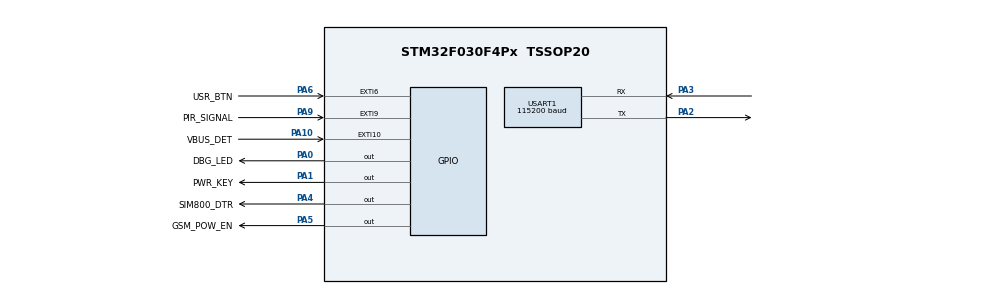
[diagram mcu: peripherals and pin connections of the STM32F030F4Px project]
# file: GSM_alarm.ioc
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Mcu.Family=STM32F0
Mcu.Name=STM32F030F4Px
Mcu.Package=TSSOP20
NVIC.EXTI4_15_IRQn=true\:0\:0\:false\:true\:true\:1\:true
NVIC.USART1_IRQn=true\:0\:0\:false\:true\:true\:2\:true
PA0.GPIO_Label=DBG_LED
PA0.Signal=GPIO_Output
PA1.GPIO_Label=PWR_KEY
PA1.Signal=GPIO_Output
PA10.GPIO_Label=VBUS_DET
PA10.GPIO_ModeDefaultEXTI=GPIO_MODE_IT_RISING_FALLING
PA10.GPIO_PuPd=GPIO_NOPULL
PA10.Signal=GPXTI10
PA13.Mode=Serial_Wire
PA13.Signal=SYS_SWDIO
PA14.Mode=Serial_Wire
PA14.Signal=SYS_SWCLK
PA2.Mode=Asynchronous
PA2.Signal=USART1_TX
PA3.Mode=Asynchronous
PA3.Signal=USART1_RX
PA4.GPIO_Label=SIM800_DTR
PA4.Signal=GPIO_Output
PA5.GPIO_Label=GSM_POW_EN
PA5.Signal=GPIO_Output
PA6.GPIO_Label=USR_BTN
PA6.GPIO_ModeDefaultEXTI=GPIO_MODE_IT_FALLING
PA6.Signal=GPXTI6
PA9.GPIO_Label=PIR_SIGNAL
PA9.GPIO_PuPd=GPIO_PULLDOWN
PA9.Signal=GPXTI9
ProjectManager.HeapSize=0x200
ProjectManager.StackSize=0x400
ProjectManager.TargetToolchain=SW4STM32
USART1.BaudRate=115200
USART1.VirtualMode-Asynchronous=VM_ASYNC
board=custom

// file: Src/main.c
/**
  ******************************************************************************
  * @file           : main.c
  * @brief          : Main program body
  ******************************************************************************
  ** This notice applies to any and all portions of this file
  * that are not between comment pairs USER CODE BEGIN and
  * USER CODE END. Other portions of this file, whether
  * inserted by the user or by software development tools
  * are owned by their respective copyright owners.
  *
  * COPYRIGHT(c) 2019 STMicroelectronics
  *
  * Redistribution and use in source and binary forms, with or without modification,
  * are permitted provided that the following conditions are met:
  *   1. Redistributions of source code must retain the above copyright notice,
  *      this list of conditions and the following disclaimer.
  *   2. Redistributions in binary form must reproduce the above copyright notice,
  *      this list of conditions and the following disclaimer in the documentation
  *      and/or other materials provided with the distribution.
  *   3. Neither the name of STMicroelectronics nor the names of its contributors
  *      may be used to endorse or promote products derived from this software
  *      without specific prior written permission.
  *
  * THIS SOFTWARE IS PROVIDED BY THE COPYRIGHT HOLDERS AND CONTRIBUTORS "AS IS"
  * AND ANY EXPRESS OR IMPLIED WARRANTIES, INCLUDING, BUT NOT LIMITED TO, THE
  * IMPLIED WARRANTIES OF MERCHANTABILITY AND FITNESS FOR A PARTICULAR PURPOSE ARE
  * DISCLAIMED. IN NO EVENT SHALL THE COPYRIGHT HOLDER OR CONTRIBUTORS BE LIABLE
  * FOR ANY DIRECT, INDIRECT, INCIDENTAL, SPECIAL, EXEMPLARY, OR CONSEQUENTIAL
  * DAMAGES (INCLUDING, BUT NOT LIMITED TO, PROCUREMENT OF SUBSTITUTE GOODS OR
  * SERVICES; LOSS OF USE, DATA, OR PROFITS; OR BUSINESS INTERRUPTION) HOWEVER
  * CAUSED AND ON ANY THEORY OF LIABILITY, WHETHER IN CONTRACT, STRICT LIABILITY,
  * OR TORT (INCLUDING NEGLIGENCE OR OTHERWISE) ARISING IN ANY WAY OUT OF THE USE
  * OF THIS SOFTWARE, EVEN IF ADVISED OF THE POSSIBILITY OF SUCH DAMAGE.
  *
  ******************************************************************************
  */
#include "main.h"
#include "stm32f0xx_hal.h"
#include "usart.h"
#include "gpio.h"

/* USER CODE BEGIN Includes */
#include "phone_no.h"
//add your phone number like this:
//#define PHONE_NO "+380123456789"

#include "UART_Buffer.h"
#include <string.h>
/* USER CODE END Includes */

/* USER CODE BEGIN PV */
/* Private variables ---------------------------------------------------------*/
#define AT_PROTOCOL_DELAY 200
#define AT_PROTOCOL_RETRY 6
#define AT_ANSWER_LENGTH_MAX 16
#define SLEEP_ENABLED
#define SEND_SMS

volatile uint32_t flags_reg = 0;
enum {
	SMS_SENDING_FAILED,
	SEND_USB_POW_SMS,
	PIR_SIGNAL_DETECTED,
	ARMED_STATE,
	USR_BTN_PRESSED,
	USB_VBUS_TOGGLED
};

/* USER CODE END PV */

void SystemClock_Config(void);
static void MX_NVIC_Init(void);

/* USER CODE BEGIN PFP */
/* Private function prototypes -----------------------------------------------*/

/* USER CODE END PFP */

/* USER CODE BEGIN 0 */
uint8_t AT_Read_answer(uint8_t* result){
	uint8_t UART_byte_buf, AT_answer[AT_ANSWER_LENGTH_MAX], i=0;

	do{
		if (UART_buf_read(&UART_byte_buf) == NOTHING_TO_READ)
			return 0;
	}while(UART_byte_buf != 13u); //13u stands for \r or <CR> symbol

	while(UART_buf_read(&AT_answer[i]) == READ_OK){
		if((AT_answer[i] == 13u) && i>0)
			break;
		i++;
		if(i == AT_ANSWER_LENGTH_MAX)
			return 0;
	}

	uint8_t drop_symbols = 0;
	while ((AT_answer[drop_symbols] == 10u) ||(AT_answer[drop_symbols] == 13u))
		drop_symbols++;

	uint8_t command_len = i-drop_symbols; //to remove \r\n before the command
	strncpy(result, AT_answer+drop_symbols, command_len);
	result[command_len] = 0u; // because *result array may not be initialized with zeroes
	return command_len;
}

uint8_t AT_expected_received_once(uint8_t* expected_command){
	uint8_t AT_answer[AT_ANSWER_LENGTH_MAX];

	if(AT_Read_answer(AT_answer))
		if(strcmp(AT_answer, expected_command) == 0)
			return 1;

	return 0;
}

uint8_t AT_expected_received(uint8_t* expected_command){
	uint8_t counter = 0;

	do{
		HAL_Delay(AT_PROTOCOL_DELAY);
		if (counter++ >= AT_PROTOCOL_RETRY){
			return 0;
		}
	}while(!AT_expected_received_once(expected_command));
	return 1;
}

uint8_t send_SMS(uint8_t* text, uint8_t length){
#ifdef SEND_SMS
	uint8_t command0[] = "AT+CGREG?\r";
	uint8_t command1[] = "AT+CMGF=1\r";
	uint8_t command2[] = "AT+CMGS=\""PHONE_NO"\"\r";

	HAL_GPIO_WritePin(GPIOA, GSM_POW_EN_Pin, GPIO_PIN_SET); // Enable power supply for GSM module
	HAL_Delay(6000);

	uint8_t counter = 0;
	do{
		HAL_Delay(2000);
		HAL_UART_Transmit(&huart1, command0, strlen(command0), 0xFFF); // Check for network
		counter++;
		if (counter>10)
			goto sending_failed;
	}while(!AT_expected_received((uint8_t*)"+CGREG: 0,1")); //means registered (home), details: http://www.groundcontrol.com/AT_Command_Reference_5_9_1_3.htm

	if(!AT_expected_received((uint8_t*)"OK"))
		goto sending_failed;

	HAL_UART_Transmit(&huart1, command1, strlen(command1), 0xFFF); // Select SMS Message Format
	if(!AT_expected_received((uint8_t*)"OK"))
		goto sending_failed;

	HAL_UART_Transmit(&huart1, command2, strlen(command2), 0xFFF); // Send Message
	//HAL_Delay(200);
	if(!AT_expected_received((uint8_t*)"> "))
		goto sending_failed;

	HAL_UART_Transmit(&huart1, text, length, 0xFFF);
	//HAL_Delay(200);

	uint8_t Ctrl_Z = 0x1A;
	HAL_UART_Transmit(&huart1, &Ctrl_Z, 1, 0xFFF);
	HAL_Delay(5000);

	//command used to print all unread messages to UART, for debug
	//uint8_t command_read_msgs[] = "AT+CMGL=\"REC UNREAD\"\r";
	//HAL_UART_Transmit(&huart1, command_read_msgs, strlen(command_read_msgs), 0xFFF);

	counter = 0;
	do{
		HAL_Delay(2000);
		if (counter++>10)
			goto sending_failed;
	}while(!AT_expected_received((uint8_t*)"OK"));

	HAL_GPIO_WritePin(GPIOA, GSM_POW_EN_Pin, GPIO_PIN_RESET);
	return 1;

#endif
sending_failed:
	HAL_GPIO_WritePin(GPIOA, GSM_POW_EN_Pin, GPIO_PIN_RESET);

	return 0;

	//uint8_t lol[] = "AT+sfdgsdfgsdfgsdfgsdghjgvjhgfxcbxcv\r";
	//HAL_UART_Transmit(&huart1, lol, strlen(lol), 0xFFF); //debug
}
/* USER CODE END 0 */

int main(void)
{

  /* MCU Configuration----------------------------------------------------------*/

  /* Reset of all peripherals, Initializes the Flash interface and the Systick. */
  HAL_Init();

  /* Configure the system clock */
  SystemClock_Config();

  /* Initialize all configured peripherals */
  MX_GPIO_Init();
  MX_USART1_UART_Init();

  /* Initialize interrupts */
  MX_NVIC_Init();
  /* USER CODE BEGIN 2 */
  //HAL_GPIO_WritePin(GPIOA, DBG_LED_Pin|GSM_POW_EN_Pin, GPIO_PIN_SET);

  __enable_irq();

  /* Enable the UART Error Interrupt: (Frame error, noise error, overrun error) */
  SET_BIT((&huart1)->Instance->CR3, USART_CR3_EIE);
  /* Enable the UART Data Register not empty Interrupt */
  SET_BIT((&huart1)->Instance->CR1, USART_CR1_RXNEIE);

  #ifdef SLEEP_ENABLED
  HAL_Delay(8000);
  #endif
  /* USER CODE END 2 */

  /* Infinite loop */
  /* USER CODE BEGIN WHILE */
  while (1)
  {
	  if(flags_reg & 1<<ARMED_STATE){
		  if(flags_reg & 1<<USR_BTN_PRESSED){
			  flags_reg &= ~(1<<ARMED_STATE);
			  flags_reg &= ~(1<<PIR_SIGNAL_DETECTED);
			  flags_reg &= ~(1<<USB_VBUS_TOGGLED);
			  flags_reg &= ~(1<<USR_BTN_PRESSED);
			  for(uint8_t i = 0; i<4; i++){
				  HAL_GPIO_TogglePin(GPIOA, DBG_LED_Pin);
				  HAL_Delay(1000);
			  }
			  HAL_GPIO_WritePin(GPIOA, DBG_LED_Pin, GPIO_PIN_RESET);
		  }
		  if(flags_reg & 1<<PIR_SIGNAL_DETECTED){
			  uint8_t my_text[] = "MOTION DETECTED!!!";
			  send_SMS(my_text, strlen(my_text));
			  HAL_GPIO_WritePin(GPIOA, DBG_LED_Pin, GPIO_PIN_SET);
			  while(HAL_GPIO_ReadPin(PIR_SIGNAL_GPIO_Port, PIR_SIGNAL_Pin)){}
			  HAL_GPIO_WritePin(GPIOA, DBG_LED_Pin, GPIO_PIN_RESET);
			  flags_reg &= ~(1<<PIR_SIGNAL_DETECTED);
		  }
		  if(flags_reg & 1<<USB_VBUS_TOGGLED){
			  uint8_t text_on[] = "USB +5V turned on, charging";
			  uint8_t text_off[] = "USB +5V turned off, battery operation";
			  HAL_Delay(50);
			  if(HAL_GPIO_ReadPin(VBUS_DET_GPIO_Port, VBUS_DET_Pin)){
				  send_SMS(text_on, strlen(text_on));
			  }
			  else{
				  send_SMS(text_off, strlen(text_off));
			  }
			  flags_reg &= ~(1<<USB_VBUS_TOGGLED);
		  }
	  }
	  else{
		  if(flags_reg & 1<<USR_BTN_PRESSED){
			  flags_reg |= 1<<ARMED_STATE;
			  flags_reg &= ~(1<<PIR_SIGNAL_DETECTED);
			  flags_reg &= ~(1<<USB_VBUS_TOGGLED);
			  flags_reg &= ~(1<<USR_BTN_PRESSED);
			  for(uint8_t i = 0; i<32; i++){
				  HAL_GPIO_TogglePin(GPIOA, DBG_LED_Pin);
				  HAL_Delay(50);
			  }
			  HAL_GPIO_WritePin(GPIOA, DBG_LED_Pin, GPIO_PIN_RESET);
		  }
	  }

	  #ifdef SLEEP_ENABLED
	  HAL_SuspendTick();
	  //HAL_PWR_EnterSLEEPMode(PWR_MAINREGULATOR_ON, PWR_SLEEPENTRY_WFI);
	  HAL_PWR_EnterSTOPMode(PWR_MAINREGULATOR_ON, PWR_STOPENTRY_WFI);
	  #endif

  /* USER CODE END WHILE */

  }

}

void SystemClock_Config(void)
{

  RCC_OscInitTypeDef RCC_OscInitStruct;
  RCC_ClkInitTypeDef RCC_ClkInitStruct;
  RCC_PeriphCLKInitTypeDef PeriphClkInit;

    /**Initializes the CPU, AHB and APB busses clocks
    */
  RCC_OscInitStruct.OscillatorType = RCC_OSCILLATORTYPE_HSI;
  RCC_OscInitStruct.HSIState = RCC_HSI_ON;
  RCC_OscInitStruct.HSICalibrationValue = 16;
  RCC_OscInitStruct.PLL.PLLState = RCC_PLL_NONE;
  if (HAL_RCC_OscConfig(&RCC_OscInitStruct) != HAL_OK)
  {
    _Error_Handler(__FILE__, __LINE__);
  }

    /**Initializes the CPU, AHB and APB busses clocks
    */
  RCC_ClkInitStruct.ClockType = RCC_CLOCKTYPE_HCLK|RCC_CLOCKTYPE_SYSCLK
                              |RCC_CLOCKTYPE_PCLK1;
  RCC_ClkInitStruct.SYSCLKSource = RCC_SYSCLKSOURCE_HSI;
  RCC_ClkInitStruct.AHBCLKDivider = RCC_SYSCLK_DIV1;
  RCC_ClkInitStruct.APB1CLKDivider = RCC_HCLK_DIV1;

  if (HAL_RCC_ClockConfig(&RCC_ClkInitStruct, FLASH_LATENCY_0) != HAL_OK)
  {
    _Error_Handler(__FILE__, __LINE__);
  }

  PeriphClkInit.PeriphClockSelection = RCC_PERIPHCLK_USART1;
  PeriphClkInit.Usart1ClockSelection = RCC_USART1CLKSOURCE_PCLK1;
  if (HAL_RCCEx_PeriphCLKConfig(&PeriphClkInit) != HAL_OK)
  {
    _Error_Handler(__FILE__, __LINE__);
  }

    /**Configure the Systick interrupt time
    */
  HAL_SYSTICK_Config(HAL_RCC_GetHCLKFreq()/1000);

    /**Configure the Systick
    */
  HAL_SYSTICK_CLKSourceConfig(SYSTICK_CLKSOURCE_HCLK);

  /* SysTick_IRQn interrupt configuration */
  HAL_NVIC_SetPriority(SysTick_IRQn, 0, 0);
}

/**
  * @brief NVIC Configuration.
  * @retval None
  */
static void MX_NVIC_Init(void)
{
  /* EXTI4_15_IRQn interrupt configuration */
  HAL_NVIC_SetPriority(EXTI4_15_IRQn, 0, 0);
  HAL_NVIC_EnableIRQ(EXTI4_15_IRQn);
  /* USART1_IRQn interrupt configuration */
  HAL_NVIC_SetPriority(USART1_IRQn, 0, 0);
  HAL_NVIC_EnableIRQ(USART1_IRQn);
}

/* USER CODE BEGIN 4 */
void HAL_GPIO_EXTI_Callback(uint16_t GPIO_Pin)
{
	#ifdef SLEEP_ENABLED
	HAL_ResumeTick();
	#endif

	switch(GPIO_Pin){
	case PIR_SIGNAL_Pin:
		flags_reg = flags_reg | 1<<PIR_SIGNAL_DETECTED;
		break;
	case USR_BTN_Pin:
		flags_reg = flags_reg | 1<<USR_BTN_PRESSED;
		break;
	case VBUS_DET_Pin:
		flags_reg = flags_reg | 1<<USB_VBUS_TOGGLED;
		break;
	}
}
/* USER CODE END 4 */

void _Error_Handler(char *file, int line)
{
  while(1)
  {
  }
}

/************************ (C) COPYRIGHT STMicroelectronics *****END OF FILE****/
